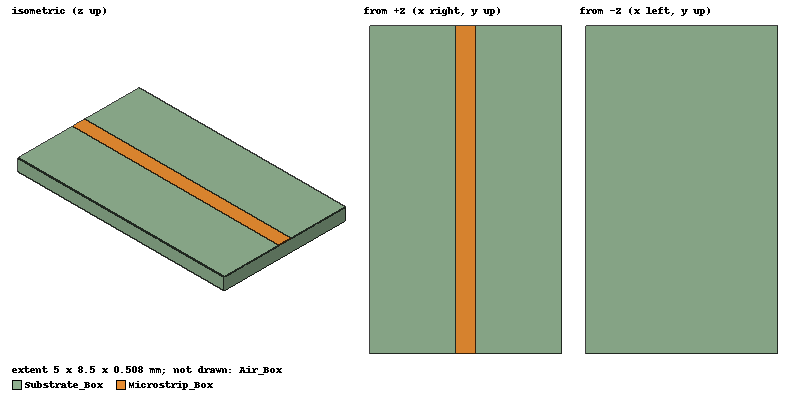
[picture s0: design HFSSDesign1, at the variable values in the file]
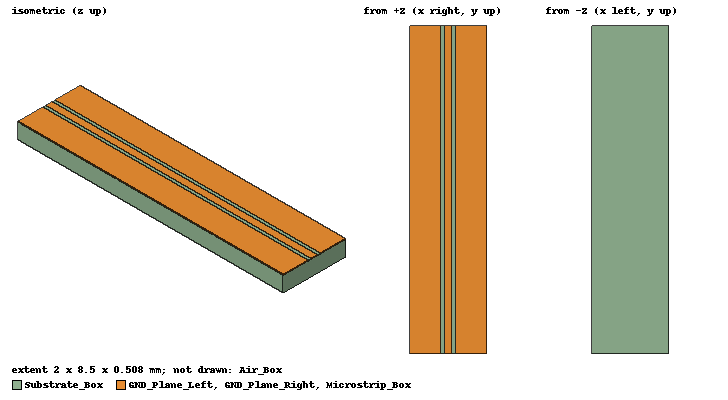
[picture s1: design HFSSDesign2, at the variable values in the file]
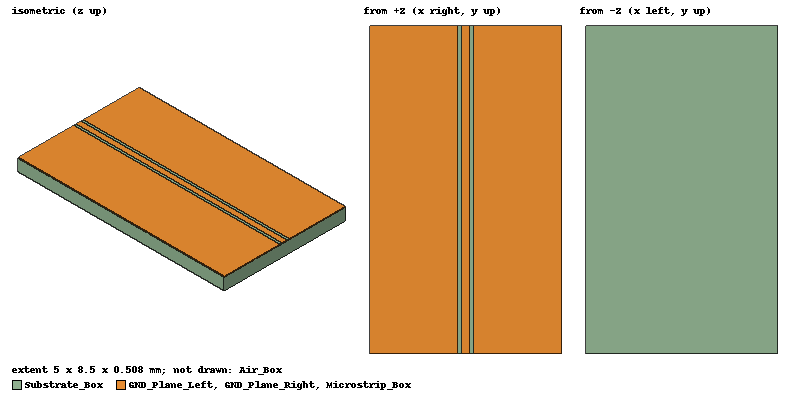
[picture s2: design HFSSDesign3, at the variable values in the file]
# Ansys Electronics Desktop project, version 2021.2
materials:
  vacuum: permittivity=1
  air: permittivity=1.0006 permeability=1.0000004
  copper: permeability=0.999991 conductivity=58000000
  alumina: permittivity=9.8 dielectric_loss_tangent=0.0001

design HFSSDesign1 (HFSS, DrivenModal, model units mm)
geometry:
  Air_Box [air] = box(corner=(-2.5mm, 0mm, 0mm), size=(5mm, 8.5mm, 2mm))
  Microstrip_Box [copper] = box(corner=(-0.25mm, 0mm, 0mm), size=(0.5mm, 8.5mm, 0.008mm))
  Substrate_Box [alumina] = box(corner=(-2.5mm, 0mm, 0mm), size=(5mm, 8.5mm, -0.5mm))
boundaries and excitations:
  air_boundary: Radiation Faces=Air_Box.face(+x, +z, -x)
  Port1: Wave Port Faces=Substrate_Box.face(-y) Microstrip_Box.face(-y) Air_Box.face(-y) NumModes=1 Modes{Mode1{CharImp=Zpi}}
  Port2: Wave Port Faces=Substrate_Box.face(+y) Microstrip_Box.face(+y) Air_Box.face(+y) NumModes=1 Modes{Mode1{CharImp=Zpi}}
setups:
  msline: HfssDriven Frequency=16GHz MaxDeltaS=0.01 MaximumPasses=6 MinimumPasses=1 MinimumConvergedPasses=1 PercentRefinement=30 BasisOrder=1 PortAccuracy=2
    sweep Sweep: 1GHz to 16GHz, 1500 points; Type=Interpolating InterpTolerance=0.5 InterpMaxSolns=250 InterpUsePortImped=false PassivityErrorTolerance=0.0001
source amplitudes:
  Port1:1: 1W 0deg
  Port2:1: 0W 0deg
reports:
  S Parameter Plot 1: dB(S(Port1,Port1)), dB(S(Port2,Port1)) vs Freq on msline : Sweep

design HFSSDesign2 (HFSS, DrivenModal, model units mm)
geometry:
  Air_Box [air] = box(corner=(-1mm, 0mm, 0mm), size=(2mm, 8.5mm, 2mm))
  Microstrip_Box [copper] = box(corner=(-0.1mm, 0mm, 0mm), size=(0.2mm, 8.5mm, 0.008mm))
  Substrate_Box [alumina] = box(corner=(-1mm, 0mm, 0mm), size=(2mm, 8.5mm, -0.5mm))
  GND_Plane_Left [copper] = box(corner=(-0.2mm, 0mm, 0mm), size=(-0.8mm, 8.5mm, 0.008mm))
  GND_Plane_Right [copper] = GND_Plane_Left.duplicate_mirror(point=(0mm, 0mm, 0.008mm), normal=(-1mm, 0mm, 0mm))
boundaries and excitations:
  air_boundary: Radiation Faces=Air_Box.face(+x, +z, -x)
  Port1: Wave Port Faces=Substrate_Box.face(-y) Microstrip_Box.face(-y) Air_Box.face(-y) NumModes=1 Modes{Mode1{CharImp=Zpi}}
  Port2: Wave Port Faces=Substrate_Box.face(+y) Microstrip_Box.face(+y) Air_Box.face(+y) NumModes=1 Modes{Mode1{CharImp=Zpi}}
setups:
  msline: HfssDriven Frequency=16GHz MaxDeltaS=0.01 MaximumPasses=6 MinimumPasses=1 MinimumConvergedPasses=1 PercentRefinement=30 BasisOrder=1 PortAccuracy=2
    sweep Sweep: 1GHz to 16GHz, 1500 points; Type=Interpolating InterpTolerance=0.5 InterpMaxSolns=250 InterpUsePortImped=false PassivityErrorTolerance=0.0001
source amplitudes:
  Port1:1: 1W 0deg
  Port2:1: 0W 0deg
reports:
  S Parameter Plot 1: dB(S(Port1,Port1)), dB(S(Port2,Port1)) vs Freq on msline : Sweep

design HFSSDesign3 (HFSS, DrivenModal, model units mm)
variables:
  w = 0.2mm
  g = 0.1mm
  wsub = 5mm
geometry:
  Air_Box [air] = box(corner=(-wsub/2, 0mm, 0mm), size=(wsub, 8.5mm, 2mm))
  Microstrip_Box [copper] = box(corner=(-w/2, 0mm, 0mm), size=(w, 8.5mm, 0.008mm))
  Substrate_Box [alumina] = box(corner=(-wsub/2, 0mm, 0mm), size=(wsub, 8.5mm, -0.5mm))
  GND_Plane_Left [copper] = box(corner=((-w/2)-g, 0mm, 0mm), size=(-(wsub/2)-(-(w/2)-g), 8.5mm, 0.008mm))
  GND_Plane_Right [copper] = GND_Plane_Left.duplicate_mirror(point=(0mm, 0mm, 0.008mm), normal=(-1mm, 0mm, 0mm))
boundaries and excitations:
  air_boundary: Radiation Faces=Air_Box.face(+x, +z, -x)
  Port1: Wave Port Faces=Substrate_Box.face(-y) Microstrip_Box.face(-y) Air_Box.face(-y) NumModes=1 Modes{Mode1{CharImp=Zpi}}
  Port2: Wave Port Faces=Substrate_Box.face(+y) Microstrip_Box.face(+y) Air_Box.face(+y) NumModes=1 Modes{Mode1{CharImp=Zpi}}
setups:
  msline: HfssDriven Frequency=16GHz MaxDeltaS=0.01 MaximumPasses=6 MinimumPasses=1 MinimumConvergedPasses=1 PercentRefinement=30 BasisOrder=1 PortAccuracy=2
    sweep Sweep: 1GHz to 16GHz, 1500 points; Type=Interpolating InterpTolerance=0.5 InterpMaxSolns=250 InterpUsePortImped=false PassivityErrorTolerance=0.0001
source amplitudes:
  Port1:1: 1W 0deg
  Port2:1: 0W 0deg
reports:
  S Parameter Plot 1: dB(S(Port1,Port1)), dB(S(Port2,Port1)) vs Freq on msline : Sweep
